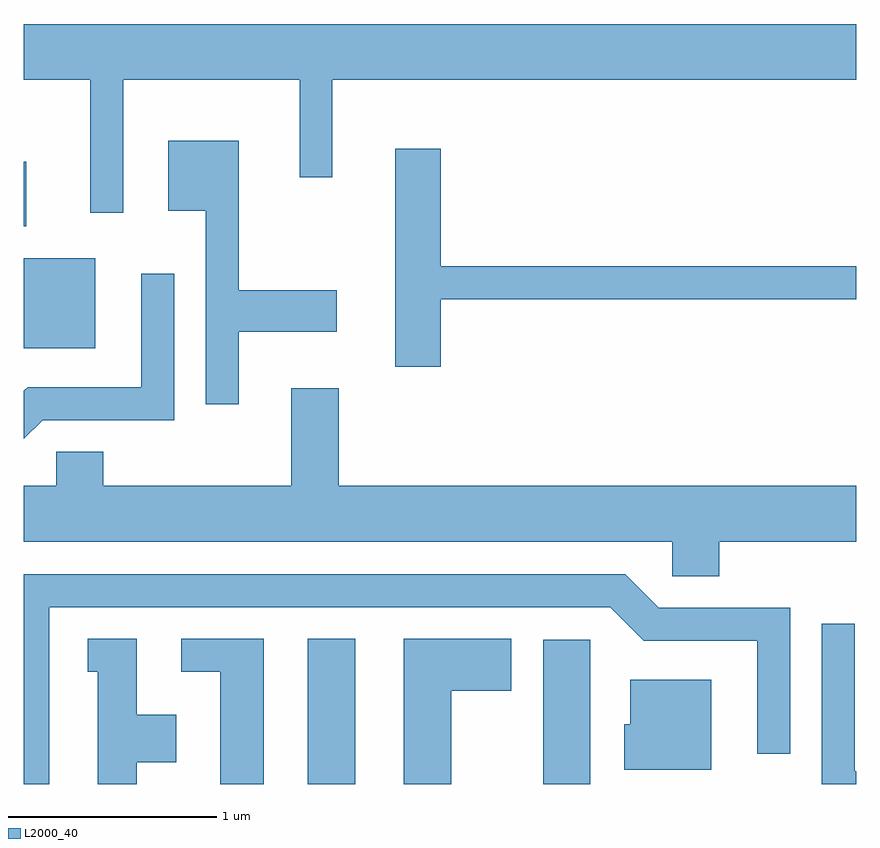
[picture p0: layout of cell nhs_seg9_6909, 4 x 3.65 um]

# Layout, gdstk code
import gdstk
lib = gdstk.Library(unit=1e-6, precision=1e-09)
def R(c, l, rs):  # rectangles x0, y0, x1, y1
    for r in rs: c.add(gdstk.rectangle(r[:2], r[2:], *l))
def P(c, l, *ps):  # polygons
    for p in ps: c.add(gdstk.Polygon(p, *l))
L2000_40 = (2000, 40)

nhs_seg9_6909 = lib.new_cell('nhs_seg9_6909')
R(nhs_seg9_6909, L2000_40, [(390.976,1988.432,391.204,1989.129), (392.106,1988.432,392.334,1989.124), (389.611,1990.526,389.954,1990.959), (389.611,1991.111,389.624,1991.423)])
P(nhs_seg9_6909, L2000_40, [(390.089,1991.816),(390.936,1991.816),(390.936,1991.348),(391.094,1991.348),(391.094,1991.816),(393.611,1991.816),(393.611,1992.084),(389.611,1992.084),(389.611,1991.816),(389.931,1991.816),(389.931,1991.178),(390.089,1991.178)],
  [(390.644,1990.606),(391.114,1990.606),(391.114,1990.804),(390.644,1990.804),(390.644,1991.524),(390.306,1991.524),(390.306,1991.186),(390.486,1991.186),(390.486,1990.258),(390.644,1990.258)],
  [(391.614,1990.761),(393.611,1990.761),(393.611,1990.919),(391.614,1990.919),(391.614,1991.484),(391.396,1991.484),(391.396,1990.436),(391.614,1990.436)],
  [(389.702,1990.181),(390.334,1990.181),(390.334,1990.883),(390.176,1990.883),(390.176,1990.339),(389.629,1990.339),(389.611,1990.321),(389.611,1990.09)],
  [(392.954,1989.596),(393.611,1989.596),(393.611,1989.864),(391.124,1989.864),(391.124,1990.334),(390.896,1990.334),(390.896,1989.864),(389.994,1989.864),(389.994,1990.029),(389.766,1990.029),(389.766,1989.864),(389.611,1989.864),(389.611,1989.596),(392.726,1989.596),(392.726,1989.431),(392.954,1989.431)],
  [(389.734,1989.281),(392.429,1989.281),(392.589,1989.121),(393.136,1989.121),(393.136,1988.578),(393.294,1988.578),(393.294,1989.279),(392.662,1989.279),(392.502,1989.439),(389.611,1989.439),(389.611,1988.432),(389.734,1988.432)],
  [(393.611,1988.494),(393.604,1988.494),(393.604,1989.203),(393.446,1989.203),(393.446,1988.432),(393.611,1988.432)],
  [(391.664,1988.881),(391.954,1988.881),(391.954,1989.129),(391.436,1989.129),(391.436,1988.432),(391.664,1988.432)],
  [(390.154,1988.536),(390.344,1988.536),(390.344,1988.764),(390.154,1988.764),(390.154,1989.129),(389.918,1989.129),(389.918,1988.971),(389.966,1988.971),(389.966,1988.432),(390.154,1988.432)],
  [(390.764,1989.129),(390.368,1989.129),(390.368,1988.971),(390.556,1988.971),(390.556,1988.432),(390.764,1988.432)],
  [(392.914,1988.934),(392.526,1988.934),(392.526,1988.719),(392.496,1988.719),(392.496,1988.501),(392.914,1988.501)])

lib.write_gds('nhs_seg9_6909.gds')
